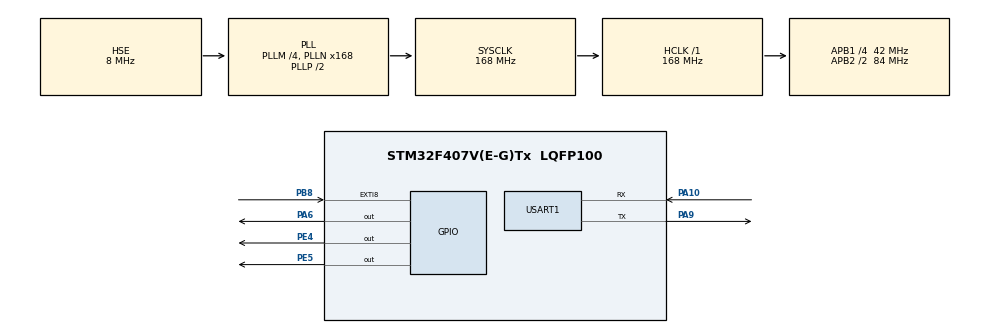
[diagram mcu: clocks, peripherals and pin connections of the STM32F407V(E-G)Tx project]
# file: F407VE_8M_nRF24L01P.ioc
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Mcu.Family=STM32F4
Mcu.Name=STM32F407V(E-G)Tx
Mcu.Package=LQFP100
NVIC.EXTI9_5_IRQn=true\:0\:0\:false\:false\:true\:true\:true
NVIC.PriorityGroup=NVIC_PRIORITYGROUP_4
NVIC.USART1_IRQn=true\:0\:0\:false\:false\:true\:true\:true
PA10.Mode=Asynchronous
PA10.Signal=USART1_RX
PA13.Mode=Serial_Wire
PA13.Signal=SYS_JTMS-SWDIO
PA14.Mode=Serial_Wire
PA14.Signal=SYS_JTCK-SWCLK
PA6.GPIO_PuPd=GPIO_PULLUP
PA6.GPIO_Speed=GPIO_SPEED_FREQ_VERY_HIGH
PA6.PinState=GPIO_PIN_SET
PA6.Signal=GPIO_Output
PA9.Mode=Asynchronous
PA9.Signal=USART1_TX
PB8.GPIO_ModeDefaultEXTI=GPIO_MODE_IT_FALLING
PB8.GPIO_PuPd=GPIO_PULLUP
PB8.Signal=GPXTI8
PC14-OSC32_IN.Mode=LSE-External-Oscillator
PC14-OSC32_IN.Signal=RCC_OSC32_IN
PC15-OSC32_OUT.Mode=LSE-External-Oscillator
PC15-OSC32_OUT.Signal=RCC_OSC32_OUT
PE4.GPIO_ModeDefaultOutputPP=GPIO_MODE_OUTPUT_PP
PE4.GPIO_PuPd=GPIO_PULLUP
PE4.GPIO_Speed=GPIO_SPEED_FREQ_VERY_HIGH
PE4.PinState=GPIO_PIN_SET
PE4.Signal=GPIO_Output
PE5.GPIO_ModeDefaultOutputPP=GPIO_MODE_OUTPUT_PP
PE5.GPIO_PuPd=GPIO_PULLUP
PE5.GPIO_Speed=GPIO_SPEED_FREQ_VERY_HIGH
PE5.PinState=GPIO_PIN_SET
PE5.Signal=GPIO_Output
PH0-OSC_IN.Mode=HSE-External-Oscillator
PH0-OSC_IN.Signal=RCC_OSC_IN
PH1-OSC_OUT.Mode=HSE-External-Oscillator
PH1-OSC_OUT.Signal=RCC_OSC_OUT
ProjectManager.HeapSize=0x200
ProjectManager.StackSize=0x400
ProjectManager.TargetToolchain=MDK-ARM V5.27
RCC.48MHZClocksFreq_Value=84000000
RCC.AHBFreq_Value=168000000
RCC.APB1CLKDivider=RCC_HCLK_DIV4
RCC.APB1Freq_Value=42000000
RCC.APB1TimFreq_Value=84000000
RCC.APB2CLKDivider=RCC_HCLK_DIV2
RCC.APB2Freq_Value=84000000
RCC.APB2TimFreq_Value=168000000
RCC.CortexFreq_Value=168000000
RCC.HCLKFreq_Value=168000000
RCC.HSE_VALUE=8000000
RCC.HSI_VALUE=16000000
RCC.PLLM=4
RCC.PLLN=168
RCC.PLLSourceVirtual=RCC_PLLSOURCE_HSE
RCC.SYSCLKFreq_VALUE=168000000
RCC.SYSCLKSource=RCC_SYSCLKSOURCE_PLLCLK
RCC.VCOOutputFreq_Value=336000000
USART1.VirtualMode=VM_ASYNC
board=custom

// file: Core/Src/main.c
/* USER CODE BEGIN Header */
/**
  ******************************************************************************
  * @file           : main.c
  * @brief          : Main program body
  ******************************************************************************
  * @attention
  *
  * <h2><center>&copy; Copyright (c) 2021 STMicroelectronics.
  * All rights reserved.</center></h2>
  *
  * This software component is licensed by ST under BSD 3-Clause license,
  * the "License"; You may not use this file except in compliance with the
  * License. You may obtain a copy of the License at:
  *                        opensource.org/licenses/BSD-3-Clause
  *
  ******************************************************************************
  */
/* USER CODE END Header */
#include "main.h"
#include "usart.h"
#include "gpio.h"

/* USER CODE BEGIN Includes */
#include "nRF24L01P/nRF24L01.h"
#include "KEY/key.h"
/* USER CODE END Includes */

/* USER CODE BEGIN PV */
MyUARTHandle uart1;
uint8_t uartBuf1[100];
/* USER CODE END PV */

void SystemClock_Config(void);

/* USER CODE BEGIN 0 */
void RxHandler(uint8_t len, uint8_t* data)
{
  MyUART_Write(&uart1, data, len);
}
/* USER CODE END 0 */

int main(void)
{
  /* USER CODE BEGIN 1 */
  uint32_t i;
  uint8_t tmp=0;
  uint8_t mode = 0, lastMode = 1;
  uint8_t RxBuffer[33] = {0};
  /* USER CODE END 1 */

  /* MCU Configuration--------------------------------------------------------*/

  /* Reset of all peripherals, Initializes the Flash interface and the Systick. */
  HAL_Init();

  /* Configure the system clock */
  SystemClock_Config();

  /* Initialize all configured peripherals */
  MX_GPIO_Init();
  MX_USART1_UART_Init();
  /* USER CODE BEGIN 2 */
  Delay_Init(168);
  MyUART_Init(&uart1, USART1, uartBuf1, 100);
  Key_Init();
  printf("nRF24L01P Test\r\n");
  HAL_NVIC_DisableIRQ(EXTI9_5_IRQn);
  printf("NRF24L01_Init: %d\r\n", NRF24L01_Init());
  NRF24L01_RegisterRxITHandler(&RxHandler);
  printf("Status: 0x%x\r\n", NRF24L01_ReadStatus());
  NRF24L01_Set_Mode(MODE_RX);
  printf("Status: 0x%x\r\n", NRF24L01_ReadStatus());
  NRF24L01_DisableIRQ(NRF24L01_IRQ_MASK); // disable all interrupt
  NRF24L01_EnableIRQ(NRF24L01_RX_DR);
  HAL_NVIC_EnableIRQ(EXTI9_5_IRQn);
  printf("mode: %s\r\n", mode ? "Tx" : "Rx");

  for(i = 0; i < 6; i++)
  {
    if(Key_ScanRaw() != 0xFF)
    {
      mode = !mode;
      printf("mode: %s\r\n", mode ? "Tx" : "Rx");
      HAL_GPIO_WritePin(GPIOA, GPIO_PIN_6, !mode); // LED
    }
    Delay_ms(500);
    printf("Status: 0x%x\r\n", NRF24L01_ReadStatus());
  }
  /* USER CODE END 2 */

  /* Infinite loop */
  while (1)
  {

    /* USER CODE BEGIN 3 */
    if(Key_ScanRaw() != 0xFF)
    {
      mode = !mode;
      printf("mode: %s\r\n", mode ? "Tx" : "Rx");
      HAL_GPIO_WritePin(GPIOA, GPIO_PIN_6, !mode);
    }
    if(lastMode!=mode)
    {
      NRF24L01_Set_Mode(mode?MODE_TX:MODE_RX);
      if(mode)
      {
        HAL_NVIC_DisableIRQ(EXTI9_5_IRQn);
      }
      else
      {
        HAL_NVIC_EnableIRQ(EXTI9_5_IRQn);
      }
    }
    lastMode = mode;
    if(mode)
    {
      printf("Tx: %d\r\n", NRF24L01_TxPacket("0123456789ABCDEF9876543210abcdef", 32));
      Delay_ms(500);
    }
    else
    {
      Delay_ms(100);
    }
  }
  /* USER CODE END 3 */
}

void SystemClock_Config(void)
{
  RCC_OscInitTypeDef RCC_OscInitStruct = {0};
  RCC_ClkInitTypeDef RCC_ClkInitStruct = {0};

  /** Configure the main internal regulator output voltage
  */
  __HAL_RCC_PWR_CLK_ENABLE();
  __HAL_PWR_VOLTAGESCALING_CONFIG(PWR_REGULATOR_VOLTAGE_SCALE1);
  /** Initializes the RCC Oscillators according to the specified parameters
  * in the RCC_OscInitTypeDef structure.
  */
  RCC_OscInitStruct.OscillatorType = RCC_OSCILLATORTYPE_HSE;
  RCC_OscInitStruct.HSEState = RCC_HSE_ON;
  RCC_OscInitStruct.PLL.PLLState = RCC_PLL_ON;
  RCC_OscInitStruct.PLL.PLLSource = RCC_PLLSOURCE_HSE;
  RCC_OscInitStruct.PLL.PLLM = 4;
  RCC_OscInitStruct.PLL.PLLN = 168;
  RCC_OscInitStruct.PLL.PLLP = RCC_PLLP_DIV2;
  RCC_OscInitStruct.PLL.PLLQ = 4;
  if (HAL_RCC_OscConfig(&RCC_OscInitStruct) != HAL_OK)
  {
    Error_Handler();
  }
  /** Initializes the CPU, AHB and APB buses clocks
  */
  RCC_ClkInitStruct.ClockType = RCC_CLOCKTYPE_HCLK|RCC_CLOCKTYPE_SYSCLK
                              |RCC_CLOCKTYPE_PCLK1|RCC_CLOCKTYPE_PCLK2;
  RCC_ClkInitStruct.SYSCLKSource = RCC_SYSCLKSOURCE_PLLCLK;
  RCC_ClkInitStruct.AHBCLKDivider = RCC_SYSCLK_DIV1;
  RCC_ClkInitStruct.APB1CLKDivider = RCC_HCLK_DIV4;
  RCC_ClkInitStruct.APB2CLKDivider = RCC_HCLK_DIV2;

  if (HAL_RCC_ClockConfig(&RCC_ClkInitStruct, FLASH_LATENCY_5) != HAL_OK)
  {
    Error_Handler();
  }
}

void Error_Handler(void)
{
  __disable_irq();
  while (1)
  {
  }
}

/************************ (C) COPYRIGHT STMicroelectronics *****END OF FILE****/
